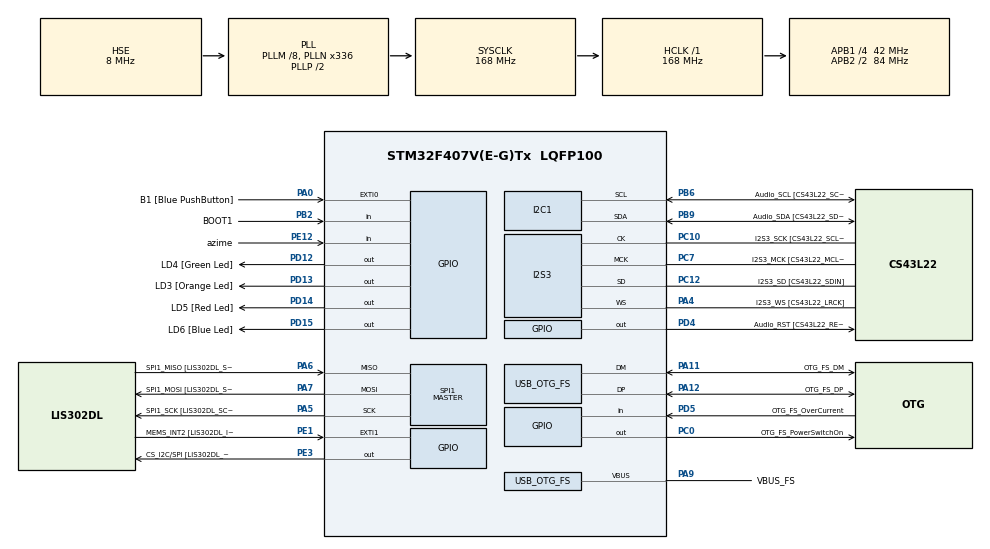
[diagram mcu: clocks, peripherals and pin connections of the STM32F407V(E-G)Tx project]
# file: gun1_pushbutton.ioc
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I2S3.AudioFreq-Half_Duplex_Master=I2S_AUDIOFREQ_96K
I2S3.ErrorAudioFreq=-2.34 %
I2S3.ErrorAudioFreq-Half_Duplex_Master=0.8 %
I2S3.FullDuplexMode=I2S_FULLDUPLEXMODE_DISABLE
I2S3.Instance=SPI$Index
I2S3.RealAudioFreq=93.75 KHz
I2S3.RealAudioFreq-Half_Duplex_Master=96.774 KHz
I2S3.VirtualMode=I2S_MODE_MASTER
Mcu.Family=STM32F4
Mcu.Name=STM32F407V(E-G)Tx
Mcu.Package=LQFP100
NVIC.OTG_FS_IRQn=true\:0\:0\:false\:false\:true\:true\:true\:true
NVIC.PriorityGroup=NVIC_PRIORITYGROUP_0
PA0-WKUP.GPIO_Label=B1 [Blue PushButton]
PA0-WKUP.GPIO_ModeDefaultEXTI=GPIO_MODE_EVT_RISING
PA0-WKUP.GPIO_PuPd=GPIO_NOPULL
PA0-WKUP.Signal=GPXTI0
PA10.GPIO_Label=OTG_FS_ID
PA10.GPIO_Mode=GPIO_MODE_AF_PP
PA10.GPIO_PuPd=GPIO_NOPULL
PA10.GPIO_Speed=GPIO_SPEED_FREQ_LOW
PA10.Signal=USB_OTG_FS_ID
PA11.GPIO_Label=OTG_FS_DM
PA11.GPIO_Mode=GPIO_MODE_AF_PP
PA11.GPIO_PuPd=GPIO_NOPULL
PA11.GPIO_Speed=GPIO_SPEED_FREQ_LOW
PA11.Mode=Host_Only
PA11.Signal=USB_OTG_FS_DM
PA12.GPIO_Label=OTG_FS_DP
PA12.GPIO_Mode=GPIO_MODE_AF_PP
PA12.GPIO_PuPd=GPIO_NOPULL
PA12.GPIO_Speed=GPIO_SPEED_FREQ_LOW
PA12.Mode=Host_Only
PA12.Signal=USB_OTG_FS_DP
PA13.GPIO_Label=SWDIO
PA13.Mode=Serial_Wire
PA13.Signal=SYS_JTMS-SWDIO
PA14.GPIO_Label=SWCLK
PA14.Mode=Serial_Wire
PA14.Signal=SYS_JTCK-SWCLK
PA4.GPIO_Label=I2S3_WS [CS43L22_LRCK]
PA4.GPIO_Mode=GPIO_MODE_AF_PP
PA4.GPIO_PuPd=GPIO_NOPULL
PA4.GPIO_Speed=GPIO_SPEED_FREQ_LOW
PA4.Mode=Half_Duplex_Master
PA4.Signal=I2S3_WS
PA5.GPIO_Label=SPI1_SCK [LIS302DL_SCL/SPC]
PA5.GPIO_Mode=GPIO_MODE_AF_PP
PA5.GPIO_PuPd=GPIO_NOPULL
PA5.GPIO_Speed=GPIO_SPEED_FREQ_LOW
PA5.Mode=Full_Duplex_Master
PA5.Signal=SPI1_SCK
PA6.GPIO_Label=SPI1_MISO [LIS302DL_SDO]
PA6.GPIO_Mode=GPIO_MODE_AF_PP
PA6.GPIO_PuPd=GPIO_NOPULL
PA6.GPIO_Speed=GPIO_SPEED_FREQ_LOW
PA6.Mode=Full_Duplex_Master
PA6.Signal=SPI1_MISO
PA7.GPIO_Label=SPI1_MOSI [LIS302DL_SDA/SDI/SDO]
PA7.GPIO_Mode=GPIO_MODE_AF_PP
PA7.GPIO_PuPd=GPIO_NOPULL
PA7.GPIO_Speed=GPIO_SPEED_FREQ_LOW
PA7.Mode=Full_Duplex_Master
PA7.Signal=SPI1_MOSI
PA9.GPIO_Label=VBUS_FS
PA9.GPIO_Mode=GPIO_MODE_INPUT
PA9.GPIO_PuPd=GPIO_NOPULL
PA9.Mode=Activate_VBUS
PA9.Signal=USB_OTG_FS_VBUS
PB10.GPIO_Label=CLK_IN [MP45DT02_CLK]
PB10.GPIO_Mode=GPIO_MODE_AF_PP
PB10.GPIO_PuPd=GPIO_NOPULL
PB10.GPIO_Speed=GPIO_SPEED_FREQ_LOW
PB10.Signal=I2S2_CK
PB2.GPIO_Label=BOOT1
PB2.GPIO_Mode=GPIO_MODE_INPUT
PB2.GPIO_PuPd=GPIO_NOPULL
PB2.Signal=GPIO_Input
PB3.GPIO_Label=SWO
PB3.Signal=SYS_JTDO-SWO
PB6.GPIO_Label=Audio_SCL [CS43L22_SCL]
PB6.GPIO_Mode=GPIO_MODE_AF_OD
PB6.GPIO_Pu=GPIO_PULLUP
PB6.GPIO_PuPd=GPIO_NOPULL
PB6.GPIO_Speed=GPIO_SPEED_FREQ_LOW
PB6.Mode=I2C
PB6.Signal=I2C1_SCL
PB9.GPIO_Label=Audio_SDA [CS43L22_SDA]
PB9.GPIO_Mode=GPIO_MODE_AF_OD
PB9.GPIO_Pu=GPIO_PULLUP
PB9.GPIO_PuPd=GPIO_NOPULL
PB9.GPIO_Speed=GPIO_SPEED_FREQ_LOW
PB9.Mode=I2C
PB9.Signal=I2C1_SDA
PC0.GPIO_Label=OTG_FS_PowerSwitchOn
PC0.GPIO_PuPd=GPIO_NOPULL
PC0.GPIO_Speed=GPIO_SPEED_FREQ_LOW
PC0.PinState=GPIO_PIN_SET
PC0.Signal=GPIO_Output
PC10.GPIO_Label=I2S3_SCK [CS43L22_SCLK]
PC10.GPIO_Mode=GPIO_MODE_AF_PP
PC10.GPIO_PuPd=GPIO_NOPULL
PC10.GPIO_Speed=GPIO_SPEED_FREQ_LOW
PC10.Mode=Half_Duplex_Master
PC10.Signal=I2S3_CK
PC12.GPIO_Label=I2S3_SD [CS43L22_SDIN]
PC12.GPIO_Mode=GPIO_MODE_AF_PP
PC12.GPIO_PuPd=GPIO_NOPULL
PC12.GPIO_Speed=GPIO_SPEED_FREQ_LOW
PC12.Mode=Half_Duplex_Master
PC12.Signal=I2S3_SD
PC14-OSC32_IN.GPIO_Label=PC14-OSC32_IN
PC14-OSC32_IN.Mode=LSE-External-Oscillator
PC14-OSC32_IN.Signal=RCC_OSC32_IN
PC15-OSC32_OUT.GPIO_Label=PC15-OSC32_OUT
PC15-OSC32_OUT.Mode=LSE-External-Oscillator
PC15-OSC32_OUT.Signal=RCC_OSC32_OUT
PC3.GPIO_Label=PDM_OUT [MP45DT02_DOUT]
PC3.GPIO_Mode=GPIO_MODE_AF_PP
PC3.GPIO_PuPd=GPIO_NOPULL
PC3.GPIO_Speed=GPIO_SPEED_FREQ_LOW
PC3.Signal=I2S2_SD
PC7.GPIO_Label=I2S3_MCK [CS43L22_MCLK]
PC7.GPIO_Mode=GPIO_MODE_AF_PP
PC7.GPIO_PuPd=GPIO_NOPULL
PC7.GPIO_Speed=GPIO_SPEED_FREQ_LOW
PC7.Mode=Master_Clock_Activated
PC7.Signal=I2S3_MCK
PD12.GPIO_Label=LD4 [Green Led]
PD12.GPIO_PuPd=GPIO_NOPULL
PD12.GPIO_Speed=GPIO_SPEED_FREQ_LOW
PD12.Signal=GPIO_Output
PD13.GPIO_Label=LD3 [Orange Led]
PD13.GPIO_PuPd=GPIO_NOPULL
PD13.GPIO_Speed=GPIO_SPEED_FREQ_LOW
PD13.Signal=GPIO_Output
PD14.GPIO_Label=LD5 [Red Led]
PD14.GPIO_PuPd=GPIO_NOPULL
PD14.GPIO_Speed=GPIO_SPEED_FREQ_LOW
PD14.Signal=GPIO_Output
PD15.GPIO_Label=LD6 [Blue Led]
PD15.GPIO_PuPd=GPIO_NOPULL
PD15.GPIO_Speed=GPIO_SPEED_FREQ_LOW
PD15.Signal=GPIO_Output
PD4.GPIO_Label=Audio_RST [CS43L22_RESET]
PD4.GPIO_PuPd=GPIO_NOPULL
PD4.GPIO_Speed=GPIO_SPEED_FREQ_LOW
PD4.Signal=GPIO_Output
PD5.GPIO_Label=OTG_FS_OverCurrent
PD5.GPIO_Mode=GPIO_MODE_INPUT
PD5.GPIO_PuPd=GPIO_NOPULL
PD5.Signal=GPIO_Input
PE1.GPIO_Label=MEMS_INT2 [LIS302DL_INT2]
PE1.GPIO_ModeDefaultEXTI=GPIO_MODE_EVT_RISING
PE1.GPIO_PuPd=GPIO_NOPULL
PE1.Signal=GPXTI1
PE12.GPIO_Label=azime
PE12.Signal=GPIO_Input
PE3.GPIO_Label=CS_I2C/SPI [LIS302DL_CS_I2C/SPI]
PE3.GPIO_PuPd=GPIO_NOPULL
PE3.GPIO_Speed=GPIO_SPEED_FREQ_LOW
PE3.Signal=GPIO_Output
PH0-OSC_IN.GPIO_Label=PH0-OSC_IN
PH0-OSC_IN.Mode=HSE-External-Oscillator
PH0-OSC_IN.Signal=RCC_OSC_IN
PH1-OSC_OUT.GPIO_Label=PH1-OSC_OUT
PH1-OSC_OUT.Mode=HSE-External-Oscillator
PH1-OSC_OUT.Signal=RCC_OSC_OUT
ProjectManager.HeapSize=0x200
ProjectManager.StackSize=0x400
ProjectManager.TargetToolchain=STM32CubeIDE
RCC.48MHZClocksFreq_Value=48000000
RCC.AHBFreq_Value=168000000
RCC.APB1CLKDivider=RCC_HCLK_DIV4
RCC.APB1Freq_Value=42000000
RCC.APB1TimFreq_Value=84000000
RCC.APB2CLKDivider=RCC_HCLK_DIV2
RCC.APB2Freq_Value=84000000
RCC.APB2TimFreq_Value=168000000
RCC.CortexFreq_Value=168000000
RCC.HCLKFreq_Value=168000000
RCC.HSE_VALUE=8000000
RCC.HSI_VALUE=16000000
RCC.PLLM=8
RCC.PLLN=336
RCC.PLLQ=7
RCC.SYSCLKFreq_VALUE=168000000
RCC.SYSCLKSource=RCC_SYSCLKSOURCE_PLLCLK
RCC.VCOOutputFreq_Value=336000000
SPI1.BaudRatePrescaler-Full_Duplex_Master=SPI_BAUDRATEPRESCALER_2
SPI1.CalculateBaudRate-Full_Duplex_Master=42.0 MBits/s
SPI1.Direction=SPI_DIRECTION_2LINES
SPI1.Mode=SPI_MODE_MASTER
SPI1.Mode-Full_Duplex_Master=SPI_MODE_MASTER
SPI1.VirtualType=VM_MASTER
USB_HOST.BSP.number=1
USB_HOST.USBH_HandleTypeDef-CDC_FS=hUsbHostFS
USB_HOST.VirtualModeFS=Cdc
USB_HOST0.BSP.STBoard=false
USB_HOST0.BSP.api=Unknown
USB_HOST0.BSP.i2caddr=0
USB_HOST0.BSP.i2creg=0
USB_HOST0.BSP.instance=PC0
USB_HOST0.BSP.ip=GPIO
USB_HOST0.BSP.mode=Output
USB_HOST0.BSP.name=Drive_VBUS_FS
USB_HOST0.BSP.solution=PC0
USB_OTG_FS.VirtualMode=Host_Only
USB_OTG_FS.phy_itface=HCD_PHY_EMBEDDED
VP_USB_HOST_VS_USB_HOST_CDC_FS.Mode=CDC_FS
board=STM32F407G-DISC1

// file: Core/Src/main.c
/* USER CODE BEGIN Header */
/**
  ******************************************************************************
  * @file           : main.c
  * @brief          : Main program body
  ******************************************************************************
  * @attention
  *
  * Copyright (c) 2022 STMicroelectronics.
  * All rights reserved.
  *
  * This software is licensed under terms that can be found in the LICENSE file
  * in the root directory of this software component.
  * If no LICENSE file comes with this software, it is provided AS-IS.
  *
  ******************************************************************************
  */
/* USER CODE END Header */
#include "main.h"

/* USER CODE BEGIN Includes */
#include "ioinput.h"

/* USER CODE END Includes */

/* USER CODE BEGIN PTD */

uint8_t bitstatus0 = 0;
uint8_t bitstatus1 = 0;
uint8_t Button5Status = 0;
/* USER CODE END PTD */

 I2C_HandleTypeDef hi2c1;

I2S_HandleTypeDef hi2s3;

SPI_HandleTypeDef hspi1;

void SystemClock_Config(void);
static void MX_GPIO_Init(void);
static void MX_I2C1_Init(void);
static void MX_I2S3_Init(void);
static void MX_SPI1_Init(void);
void MX_USB_HOST_Process(void);

int main(void)
{

  /* MCU Configuration--------------------------------------------------------*/

  /* Reset of all peripherals, Initializes the Flash interface and the Systick. */
  HAL_Init();

  /* Configure the system clock */
  SystemClock_Config();

  /* Initialize all configured peripherals */
  MX_GPIO_Init();
  MX_I2C1_Init();
  MX_I2S3_Init();
  MX_SPI1_Init();

  /* Infinite loop */
  /* USER CODE BEGIN WHILE */
  while (1)
  {

	  	//debounce önlenmesi için buton okumaların içerisine 50 milisaniye gecikme koyuyoruz

	  	HAL_Delay(50);
	  	if (Button5Status==0 &&  (HAL_GPIO_ReadPin(GPIOA,GPIO_PIN_0)==GPIO_PIN_RESET))
	  	{
	  		//while((HAL_GPIO_ReadPin(GPIOA,button6Stream_Pin)==GPIO_PIN_SET));

	  		Button5Status=0;
	  	}
	  	//sadece buton low olduğunda ve status=0 olduğunda buton flagini 1 yapıyoruz ve buton okuması gerçekleştiriyoruz
	  	else if( (Button5Status==0 &&  HAL_GPIO_ReadPin(GPIOA,GPIO_PIN_0)==GPIO_PIN_SET) )
	  	{
	  		Button5Status=1;

	  		deneme();
	  	}
	  	else if (Button5Status==1 &&  (HAL_GPIO_ReadPin(GPIOA,GPIO_PIN_0)==GPIO_PIN_RESET))
	  	{
	  		Button5Status=0;
	  	}
	  	else if (Button5Status==1 &&  (HAL_GPIO_ReadPin(GPIOA,GPIO_PIN_0)==GPIO_PIN_SET))
	  	{
	  		Button5Status=1;
	  	}
	  	else {}

    /* USER CODE END WHILE */

  }
}

void SystemClock_Config(void)
{
  RCC_OscInitTypeDef RCC_OscInitStruct = {0};
  RCC_ClkInitTypeDef RCC_ClkInitStruct = {0};

  /** Configure the main internal regulator output voltage
  */
  __HAL_RCC_PWR_CLK_ENABLE();
  __HAL_PWR_VOLTAGESCALING_CONFIG(PWR_REGULATOR_VOLTAGE_SCALE1);

  /** Initializes the RCC Oscillators according to the specified parameters
  * in the RCC_OscInitTypeDef structure.
  */
  RCC_OscInitStruct.OscillatorType = RCC_OSCILLATORTYPE_HSE;
  RCC_OscInitStruct.HSEState = RCC_HSE_ON;
  RCC_OscInitStruct.PLL.PLLState = RCC_PLL_ON;
  RCC_OscInitStruct.PLL.PLLSource = RCC_PLLSOURCE_HSE;
  RCC_OscInitStruct.PLL.PLLM = 8;
  RCC_OscInitStruct.PLL.PLLN = 336;
  RCC_OscInitStruct.PLL.PLLP = RCC_PLLP_DIV2;
  RCC_OscInitStruct.PLL.PLLQ = 7;
  if (HAL_RCC_OscConfig(&RCC_OscInitStruct) != HAL_OK)
  {
    Error_Handler();
  }

  /** Initializes the CPU, AHB and APB buses clocks
  */
  RCC_ClkInitStruct.ClockType = RCC_CLOCKTYPE_HCLK|RCC_CLOCKTYPE_SYSCLK
                              |RCC_CLOCKTYPE_PCLK1|RCC_CLOCKTYPE_PCLK2;
  RCC_ClkInitStruct.SYSCLKSource = RCC_SYSCLKSOURCE_PLLCLK;
  RCC_ClkInitStruct.AHBCLKDivider = RCC_SYSCLK_DIV1;
  RCC_ClkInitStruct.APB1CLKDivider = RCC_HCLK_DIV4;
  RCC_ClkInitStruct.APB2CLKDivider = RCC_HCLK_DIV2;

  if (HAL_RCC_ClockConfig(&RCC_ClkInitStruct, FLASH_LATENCY_5) != HAL_OK)
  {
    Error_Handler();
  }
}

static void MX_I2C1_Init(void)
{

  hi2c1.Instance = I2C1;
  hi2c1.Init.ClockSpeed = 100000;
  hi2c1.Init.DutyCycle = I2C_DUTYCYCLE_2;
  hi2c1.Init.OwnAddress1 = 0;
  hi2c1.Init.AddressingMode = I2C_ADDRESSINGMODE_7BIT;
  hi2c1.Init.DualAddressMode = I2C_DUALADDRESS_DISABLE;
  hi2c1.Init.OwnAddress2 = 0;
  hi2c1.Init.GeneralCallMode = I2C_GENERALCALL_DISABLE;
  hi2c1.Init.NoStretchMode = I2C_NOSTRETCH_DISABLE;
  if (HAL_I2C_Init(&hi2c1) != HAL_OK)
  {
    Error_Handler();
  }

}

static void MX_I2S3_Init(void)
{

  hi2s3.Instance = SPI3;
  hi2s3.Init.Mode = I2S_MODE_MASTER_TX;
  hi2s3.Init.Standard = I2S_STANDARD_PHILIPS;
  hi2s3.Init.DataFormat = I2S_DATAFORMAT_16B;
  hi2s3.Init.MCLKOutput = I2S_MCLKOUTPUT_ENABLE;
  hi2s3.Init.AudioFreq = I2S_AUDIOFREQ_96K;
  hi2s3.Init.CPOL = I2S_CPOL_LOW;
  hi2s3.Init.ClockSource = I2S_CLOCK_PLL;
  hi2s3.Init.FullDuplexMode = I2S_FULLDUPLEXMODE_DISABLE;
  if (HAL_I2S_Init(&hi2s3) != HAL_OK)
  {
    Error_Handler();
  }

}

static void MX_SPI1_Init(void)
{

  /* SPI1 parameter configuration*/
  hspi1.Instance = SPI1;
  hspi1.Init.Mode = SPI_MODE_MASTER;
  hspi1.Init.Direction = SPI_DIRECTION_2LINES;
  hspi1.Init.DataSize = SPI_DATASIZE_8BIT;
  hspi1.Init.CLKPolarity = SPI_POLARITY_LOW;
  hspi1.Init.CLKPhase = SPI_PHASE_1EDGE;
  hspi1.Init.NSS = SPI_NSS_SOFT;
  hspi1.Init.BaudRatePrescaler = SPI_BAUDRATEPRESCALER_2;
  hspi1.Init.FirstBit = SPI_FIRSTBIT_MSB;
  hspi1.Init.TIMode = SPI_TIMODE_DISABLE;
  hspi1.Init.CRCCalculation = SPI_CRCCALCULATION_DISABLE;
  hspi1.Init.CRCPolynomial = 10;
  if (HAL_SPI_Init(&hspi1) != HAL_OK)
  {
    Error_Handler();
  }

}

static void MX_GPIO_Init(void)
{
  GPIO_InitTypeDef GPIO_InitStruct = {0};

  /* GPIO Ports Clock Enable */
  __HAL_RCC_GPIOE_CLK_ENABLE();
  __HAL_RCC_GPIOC_CLK_ENABLE();
  __HAL_RCC_GPIOH_CLK_ENABLE();
  __HAL_RCC_GPIOA_CLK_ENABLE();
  __HAL_RCC_GPIOB_CLK_ENABLE();
  __HAL_RCC_GPIOD_CLK_ENABLE();

  /*Configure GPIO pin Output Level */
  HAL_GPIO_WritePin(CS_I2C_SPI_GPIO_Port, CS_I2C_SPI_Pin, GPIO_PIN_RESET);

  /*Configure GPIO pin Output Level */
  HAL_GPIO_WritePin(OTG_FS_PowerSwitchOn_GPIO_Port, OTG_FS_PowerSwitchOn_Pin, GPIO_PIN_SET);

  /*Configure GPIO pin Output Level */
  HAL_GPIO_WritePin(GPIOD, LD4_Pin|LD3_Pin|LD5_Pin|LD6_Pin
                          |Audio_RST_Pin, GPIO_PIN_RESET);

  /*Configure GPIO pin : CS_I2C_SPI_Pin */
  GPIO_InitStruct.Pin = CS_I2C_SPI_Pin;
  GPIO_InitStruct.Mode = GPIO_MODE_OUTPUT_PP;
  GPIO_InitStruct.Pull = GPIO_NOPULL;
  GPIO_InitStruct.Speed = GPIO_SPEED_FREQ_LOW;
  HAL_GPIO_Init(CS_I2C_SPI_GPIO_Port, &GPIO_InitStruct);

  /*Configure GPIO pin : OTG_FS_PowerSwitchOn_Pin */
  GPIO_InitStruct.Pin = OTG_FS_PowerSwitchOn_Pin;
  GPIO_InitStruct.Mode = GPIO_MODE_OUTPUT_PP;
  GPIO_InitStruct.Pull = GPIO_NOPULL;
  GPIO_InitStruct.Speed = GPIO_SPEED_FREQ_LOW;
  HAL_GPIO_Init(OTG_FS_PowerSwitchOn_GPIO_Port, &GPIO_InitStruct);

  /*Configure GPIO pin : PDM_OUT_Pin */
  GPIO_InitStruct.Pin = PDM_OUT_Pin;
  GPIO_InitStruct.Mode = GPIO_MODE_AF_PP;
  GPIO_InitStruct.Pull = GPIO_NOPULL;
  GPIO_InitStruct.Speed = GPIO_SPEED_FREQ_LOW;
  GPIO_InitStruct.Alternate = GPIO_AF5_SPI2;
  HAL_GPIO_Init(PDM_OUT_GPIO_Port, &GPIO_InitStruct);

  /*Configure GPIO pin : B1_Pin */
  GPIO_InitStruct.Pin = B1_Pin;
  GPIO_InitStruct.Mode = GPIO_MODE_EVT_RISING;
  GPIO_InitStruct.Pull = GPIO_NOPULL;
  HAL_GPIO_Init(B1_GPIO_Port, &GPIO_InitStruct);

  /*Configure GPIO pin : BOOT1_Pin */
  GPIO_InitStruct.Pin = BOOT1_Pin;
  GPIO_InitStruct.Mode = GPIO_MODE_INPUT;
  GPIO_InitStruct.Pull = GPIO_NOPULL;
  HAL_GPIO_Init(BOOT1_GPIO_Port, &GPIO_InitStruct);

  /*Configure GPIO pin : CLK_IN_Pin */
  GPIO_InitStruct.Pin = CLK_IN_Pin;
  GPIO_InitStruct.Mode = GPIO_MODE_AF_PP;
  GPIO_InitStruct.Pull = GPIO_NOPULL;
  GPIO_InitStruct.Speed = GPIO_SPEED_FREQ_LOW;
  GPIO_InitStruct.Alternate = GPIO_AF5_SPI2;
  HAL_GPIO_Init(CLK_IN_GPIO_Port, &GPIO_InitStruct);

  /*Configure GPIO pins : LD4_Pin LD3_Pin LD5_Pin LD6_Pin
                           Audio_RST_Pin */
  GPIO_InitStruct.Pin = LD4_Pin|LD3_Pin|LD5_Pin|LD6_Pin
                          |Audio_RST_Pin;
  GPIO_InitStruct.Mode = GPIO_MODE_OUTPUT_PP;
  GPIO_InitStruct.Pull = GPIO_NOPULL;
  GPIO_InitStruct.Speed = GPIO_SPEED_FREQ_LOW;
  HAL_GPIO_Init(GPIOD, &GPIO_InitStruct);

  /*Configure GPIO pin : OTG_FS_OverCurrent_Pin */
  GPIO_InitStruct.Pin = OTG_FS_OverCurrent_Pin;
  GPIO_InitStruct.Mode = GPIO_MODE_INPUT;
  GPIO_InitStruct.Pull = GPIO_NOPULL;
  HAL_GPIO_Init(OTG_FS_OverCurrent_GPIO_Port, &GPIO_InitStruct);

  /*Configure GPIO pin : MEMS_INT2_Pin */
  GPIO_InitStruct.Pin = MEMS_INT2_Pin;
  GPIO_InitStruct.Mode = GPIO_MODE_EVT_RISING;
  GPIO_InitStruct.Pull = GPIO_NOPULL;
  HAL_GPIO_Init(MEMS_INT2_GPIO_Port, &GPIO_InitStruct);

}

void Error_Handler(void)
{
  __disable_irq();
  while (1)
  {
  }
}
